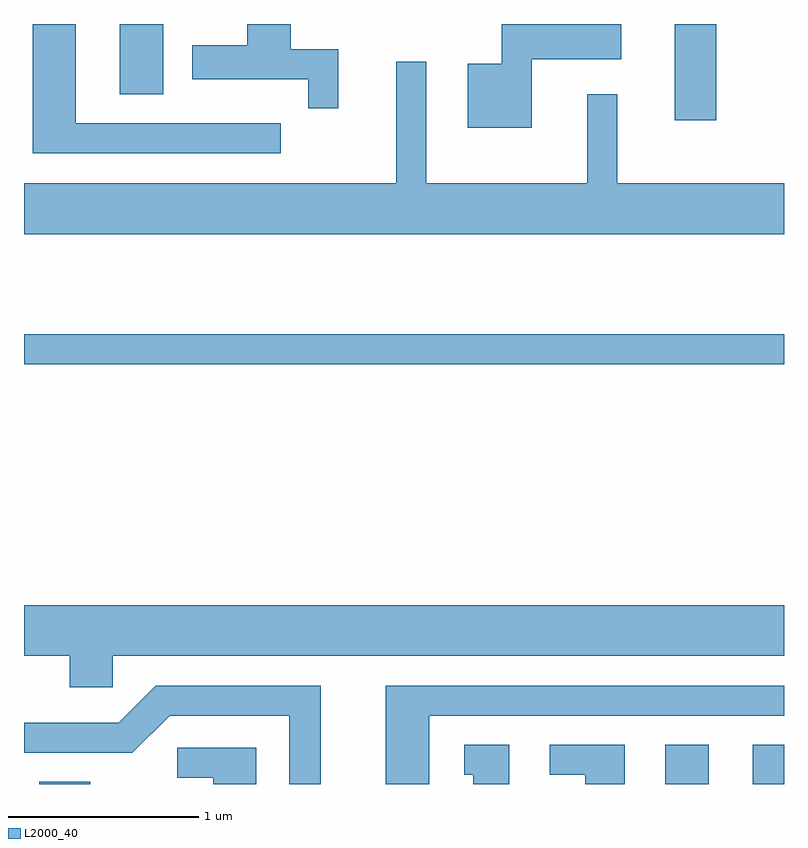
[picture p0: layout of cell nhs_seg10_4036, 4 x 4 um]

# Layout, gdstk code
import gdstk
lib = gdstk.Library(unit=1e-6, precision=1e-09)
def R(c, l, rs):  # rectangles x0, y0, x1, y1
    for r in rs: c.add(gdstk.rectangle(r[:2], r[2:], *l))
def P(c, l, *ps):  # polygons
    for p in ps: c.add(gdstk.Polygon(p, *l))
L2000_40 = (2000, 40)

nhs_seg10_4036 = lib.new_cell('nhs_seg10_4036')
R(nhs_seg10_4036, L2000_40, [(303.691,2166.522,303.959,2166.534), (306.986,2166.522,307.214,2166.729), (307.446,2166.522,307.611,2166.729), (303.611,2168.731,307.611,2168.889), (307.036,2170.016,307.254,2170.522), (304.116,2170.151,304.344,2170.522)])
P(nhs_seg10_4036, L2000_40, [(306.284,2170.336),(306.754,2170.336),(306.754,2170.522),(306.126,2170.522),(306.126,2170.314),(305.946,2170.314),(305.946,2169.976),(306.284,2169.976)],
  [(304.963,2169.999),(303.884,2169.999),(303.884,2170.522),(303.656,2170.522),(303.656,2169.841),(304.963,2169.841)],
  [(305.264,2170.389),(305.014,2170.389),(305.014,2170.522),(304.786,2170.522),(304.786,2170.409),(304.496,2170.409),(304.496,2170.231),(305.106,2170.231),(305.106,2170.078),(305.264,2170.078)],
  [(307.611,2169.684),(306.734,2169.684),(306.734,2170.153),(306.576,2170.153),(306.576,2169.684),(305.729,2169.684),(305.729,2170.323),(305.571,2170.323),(305.571,2169.684),(303.611,2169.684),(303.611,2169.416),(307.611,2169.416)],
  [(304.079,2167.196),(307.611,2167.196),(307.611,2167.464),(303.611,2167.464),(303.611,2167.196),(303.851,2167.196),(303.851,2167.031),(304.079,2167.031)],
  [(305.174,2167.039),(304.304,2167.039),(304.109,2166.844),(303.611,2166.844),(303.611,2166.686),(304.182,2166.686),(304.377,2166.881),(305.006,2166.881),(305.006,2166.522),(305.174,2166.522)],
  [(305.744,2166.881),(307.611,2166.881),(307.611,2167.039),(305.516,2167.039),(305.516,2166.522),(305.744,2166.522)],
  [(306.774,2166.729),(306.378,2166.729),(306.378,2166.571),(306.566,2166.571),(306.566,2166.522),(306.774,2166.522)],
  [(306.164,2166.729),(305.928,2166.729),(305.928,2166.571),(305.976,2166.571),(305.976,2166.522),(306.164,2166.522)],
  [(304.834,2166.714),(304.418,2166.714),(304.418,2166.556),(304.606,2166.556),(304.606,2166.522),(304.834,2166.522)])

lib.write_gds('nhs_seg10_4036.gds')
